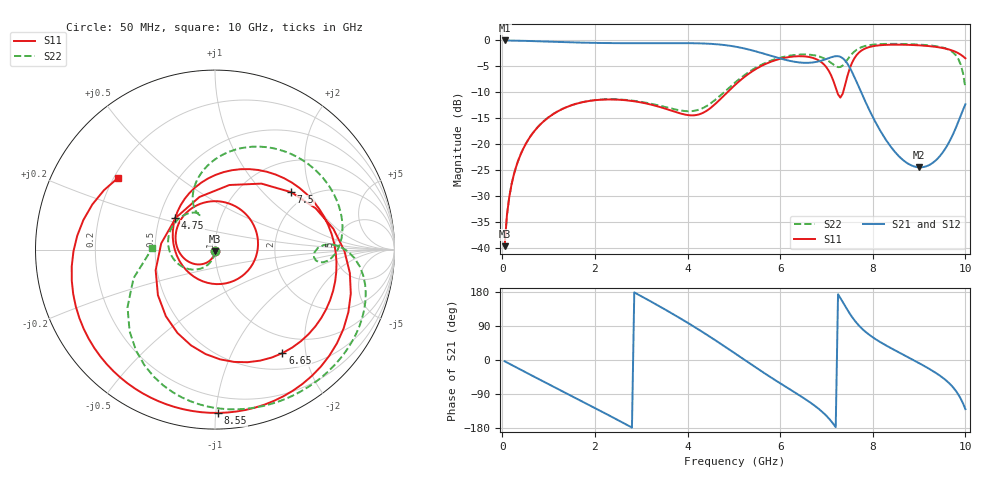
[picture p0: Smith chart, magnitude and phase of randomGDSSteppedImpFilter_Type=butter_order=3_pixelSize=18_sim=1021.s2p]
! freq	dB(S11)	phase(S11)	dB(S12)	phase(S12)
!  dB(S21)	phase(S21)	dB(S22)	phase(S22)
!S-par simulation data
#  GHz  S  DB  R 50
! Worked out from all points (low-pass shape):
!   200 points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, 50 MHz to 10 GHz, reference 50 ohm
!   highest |S21| = -0.01 dB at 50 MHz (marker M1); lowest = -24.5 dB at 9 GHz (marker M2)
!   |S21| within 3 dB of the highest: start of sweep to 5.816 GHz
!   lowest |S11| = -39.7 dB at 50 MHz (marker M3), VSWR 1.02, Z = 50 - j1.04 ohm
!   |S11| at or under -10 dB: start of sweep to 4.859 GHz; 7.234 GHz to 7.359 GHz (124.8 MHz wide, 1.71 % of centre)
!   |S22| runs from -39.7 to -0.7 dB; largest |S21 - S12| = 0
!   S11 on the Smith chart (normalised r, x): 50 MHz: 1.00, -0.02; 4.75 GHz: 0.60, +0.23; 6.65 GHz: 0.73, -1.60; 7.5 GHz: 1.66, +1.48; 8.55 GHz: 0.10, -1.02; 10 GHz: 0.22, +0.32
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0.05  -39.67 -91.7  -0.01 -3.3  -0.01 -3.3  -39.67 -90.6
0.2  -27.76 -104.7  -0.03 -12.9  -0.03 -12.9  -27.74 -100.5
0.5  -20.07 -127.7  -0.09 -32.1  -0.09 -32.1  -20.05 -117.1
1.15  -13.92 -176.9  -0.27 -73.3  -0.27 -73.3  -13.90 -151.0
1.75  -11.88 136.5  -0.43 -111.0  -0.43 -111.0  -11.86 -179.7
2.65  -11.52 60.1  -0.54 -168.5  -0.54 -168.5  -11.46 142.5
3.4  -12.83 -15.3  -0.53 141.3  -0.53 141.3  -12.59 118.6
4.1  -14.45 -111.2  -0.54 91.0  -0.54 91.0  -13.62 113.3
4.75  -10.96 141.6  -0.84 40.0  -0.84 40.0  -10.29 114.0
5.05  -8.39 101.6  -1.23 15.3  -1.23 15.3  -7.95 104.4
5.95  -3.67 7.7  -3.36 -57.6  -3.36 -57.6  -3.46 54.3
6.65  -3.24 -56.9  -4.30 -112.2  -4.30 -112.2  -2.77 13.4
6.7  -3.36 -62.2  -4.26 -116.5  -4.26 -116.5  -2.82 10.7
7  -5.19 -104.0  -3.58 -147.5  -3.58 -147.5  -3.72 -4.0
7.2  -9.12 -160.8  -3.04 -177.4  -3.04 -177.4  -4.96 -6.1
7.5  -5.49 37.0  -5.19 123.2  -5.19 123.2  -3.14 1.4
7.75  -1.99 -17.9  -10.00 84.8  -10.00 84.8  -1.33 -13.0
8.35  -0.84 -75.7  -20.02 34.1  -20.02 34.1  -0.67 -44.8
8.55  -0.82 -88.8  -22.20 21.1  -22.20 21.1  -0.67 -53.6
9  -0.95 -116.7  -24.47 -8.2  -24.47 -8.2  -0.80 -73.1
9.65  -1.76 -167.8  -19.59 -61.2  -19.59 -61.2  -1.83 -110.8
10  -3.45 143.6  -12.32 -129.6  -12.32 -129.6  -9.12 178.8
